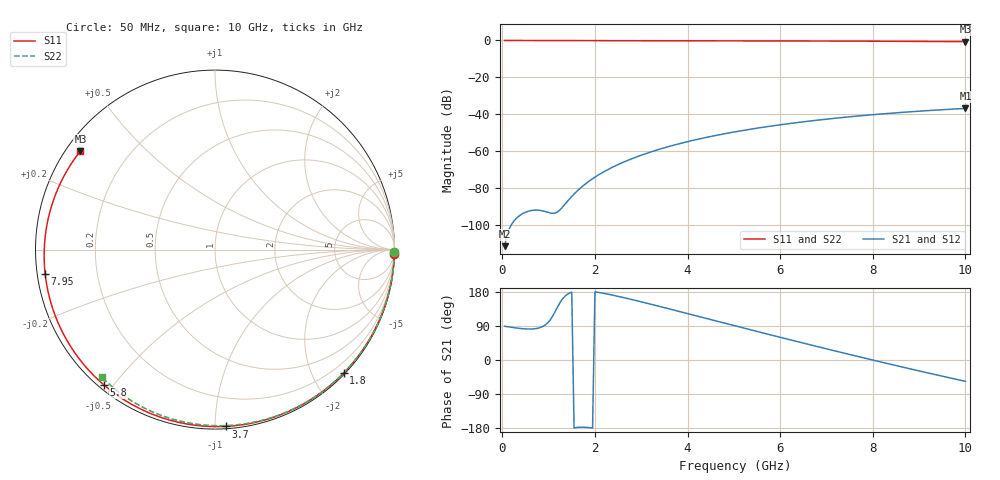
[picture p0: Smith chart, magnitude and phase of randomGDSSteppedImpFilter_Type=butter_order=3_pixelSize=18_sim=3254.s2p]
! freq	dB(S11)	phase(S11)	dB(S12)	phase(S12)
!  dB(S21)	phase(S21)	dB(S22)	phase(S22)
!S-par simulation data
#  GHz  S  DB  R 50
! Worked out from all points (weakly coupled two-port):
!   200 points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, 50 MHz to 10 GHz, reference 50 ohm
!   highest |S21| = -36.86 dB at 10 GHz (marker M1); lowest = -111.5 dB at 50 MHz (marker M2)
!   lowest |S11| = -0.6 dB at 10 GHz (marker M3), VSWR 27.45, Z = 2.02 + j16.4 ohm
!   |S11| at or under -10 dB: nowhere
!   |S22| runs from -0.4 to 0.0 dB; largest |S21 - S12| = 0
!   S11 on the Smith chart (normalised r, x): 50 MHz: 0, -91; 1.8 GHz: 0.02, -2.49; 3.7 GHz: 0.01, -1.06; 5.8 GHz: 0.02, -0.47; 7.95 GHz: 0.02, -0.07; 10 GHz: 0.04, +0.33
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0.05  -0.00 -1.3  -111.52 89.1  -111.52 89.1  -0.00 -0.8
0.4  -0.01 -9.9  -94.46 83.0  -94.46 83.0  -0.01 -6.1
0.8  -0.03 -19.7  -92.08 84.8  -92.08 84.8  -0.02 -12.1
1.2  -0.04 -29.5  -92.83 141.7  -92.83 141.7  -0.02 -18.1
1.65  -0.05 -40.3  -80.82 -177.5  -80.82 -177.5  -0.03 -24.8
1.7  -0.05 -41.4  -79.71 -177.3  -79.71 -177.3  -0.03 -25.5
1.75  -0.05 -42.6  -78.66 -177.3  -78.66 -177.3  -0.03 -26.2
1.8  -0.06 -43.8  -77.66 -177.6  -77.66 -177.6  -0.03 -27.0
2.1  -0.06 -50.8  -72.54 177.9  -72.54 177.9  -0.04 -31.4
2.5  -0.08 -60.0  -67.28 168.0  -67.28 168.0  -0.05 -37.2
2.9  -0.09 -69.0  -63.12 156.5  -63.12 156.5  -0.06 -42.9
3.4  -0.10 -80.0  -58.92 141.3  -58.92 141.3  -0.07 -50.0
3.7  -0.12 -86.5  -56.78 131.9  -56.78 131.9  -0.07 -54.1
4.35  -0.14 -100.2  -52.85 111.5  -52.85 111.5  -0.09 -63.0
5.05  -0.17 -114.4  -49.43 89.4  -49.43 89.4  -0.11 -72.3
5.8  -0.22 -129.3  -46.43 66.1  -46.43 66.1  -0.14 -82.0
6.7  -0.28 -147.0  -43.51 38.5  -43.51 38.5  -0.18 -93.2
7.35  -0.33 -159.8  -41.76 19.0  -41.76 19.0  -0.22 -101.0
7.95  -0.39 -171.8  -40.35 1.3  -40.35 1.3  -0.26 -108.1
8.35  -0.43 180.0  -39.53 -10.3  -39.53 -10.3  -0.29 -112.8
9.2  -0.53 161.9  -38.01 -34.4  -38.01 -34.4  -0.36 -122.6
10  -0.63 143.7  -36.86 -56.3  -36.86 -56.3  -0.45 -131.6
